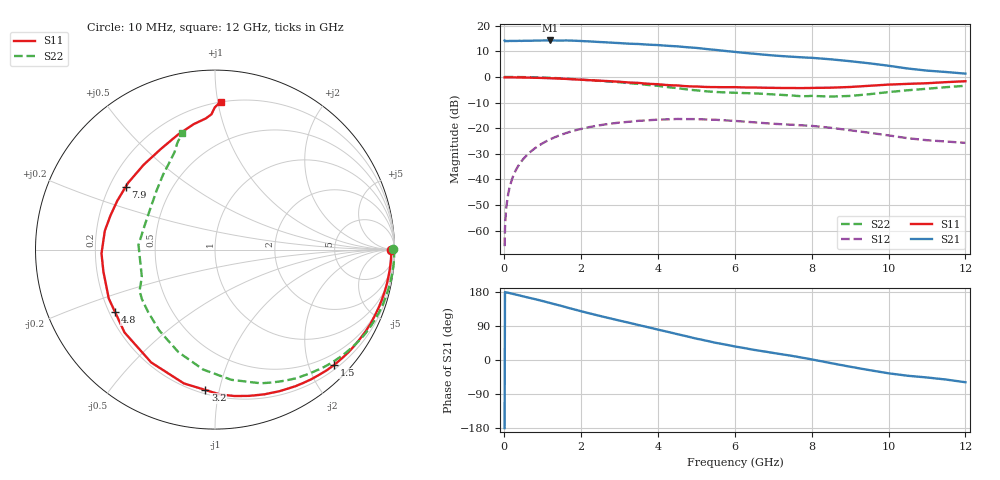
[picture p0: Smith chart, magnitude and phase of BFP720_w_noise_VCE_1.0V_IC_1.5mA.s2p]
! Infineon Technologies  Discrete & RF Semiconductors
! BFP720
! VCE =  1.0 V,  IC =  1.5 mA
! Common Emitter S-Parameters:  Aug 2012
# GHz  S  MA  R  50
!  f  S11  S21  S12  S22
! GHz  MAG  ANG  MAG  ANG  MAG  ANG  MAG  ANG
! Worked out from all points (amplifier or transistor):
!   105 points, 10 MHz to 12 GHz, reference 50 ohm
!   highest |S21| = 14.2 dB at 1.2 GHz (marker M1)
!   |S21| within 3 dB of that: start of sweep to 5.057 GHz
!   unconditionally stable (mu >= 1): 8.516 GHz to end of sweep
!   at 300 MHz: K = 0.01, MSG = 25.2 dB, |S12| = -36.4 dB
!   at 3.6 GHz: K = 0.27, MSG = 14.9 dB, |S12| = -17.0 dB
!   at 12 GHz: K = 1.07, MAG = 11.9 dB, |S12| = -25.7 dB
!   lowest NFmin = 0.43 dB at 450 MHz
!   S11 on the Smith chart (normalised r, x): 10 MHz: 97, +0; 1.5 GHz: 0.28, -2.45; 3.2 GHz: 0.22, -0.91; 4.8 GHz: 0.22, -0.27; 7.9 GHz: 0.27, +0.30; 12 GHz: 0.20, +1.02
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0.01  0.9796 -0.0  5.139 -179.7  0.0005 -150.7  0.9942 0.2
0.03  0.9819 -0.8  4.99 179.0  0.0016 89.1  0.9992 -0.7
0.06  0.9818 -1.6  5.021 178.3  0.0031 88.7  0.9987 -1.4
0.14  0.9815 -3.8  5.038 176.5  0.007 87.4  0.9988 -3.2
0.25  0.9797 -6.9  5.048 173.8  0.0126 85.2  0.998 -5.7
0.6  0.9708 -16.7  5.077 165.3  0.0304 78.0  0.9892 -13.9
1.2  0.9434 -34.6  5.15 150.3  0.0609 64.6  0.9613 -28.5
1.5  0.9242 -44.0  5.124 142.4  0.0755 57.5  0.9367 -35.9
1.7  0.907 -50.4  5.129 136.7  0.0845 52.7  0.9176 -40.9
2.1  0.874 -62.5  4.977 126.1  0.1007 43.2  0.877 -50.5
2.6  0.837 -76.8  4.755 113.6  0.1178 32.1  0.8273 -62.0
3.2  0.7841 -93.9  4.478 99.4  0.1326 19.4  0.7613 -75.6
3.5  0.7654 -103.1  4.392 92.1  0.1395 13.3  0.7313 -82.8
4.1  0.7091 -122.9  4.13 77.9  0.1478 1.2  0.6555 -98.2
4.8  0.6567 -148.0  3.776 61.3  0.1505 -12.6  0.5663 -118.3
5.5  0.6338 -168.9  3.371 45.4  0.1462 -25.5  0.5096 -137.0
6.1  0.6287 179.7  3.026 34.0  0.1371 -34.7  0.4888 -147.0
7.9  0.6084 144.8  2.38 3.5  0.1122 -54.8  0.4227 -178.7
8.5  0.6176 130.0  2.207 -8.2  0.1019 -62.4  0.4144 162.3
9.5  0.6723 108.0  1.845 -26.7  0.0816 -69.9  0.4608 135.2
10.5  0.7326 94.0  1.461 -41.6  0.0638 -72.0  0.5501 117.3
12  0.8247 87.8  1.16 -58.7  0.0518 -66.9  0.6723 105.8
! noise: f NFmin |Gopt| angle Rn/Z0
0.45  0.43  0.72  5  0.33
1.8  0.58  0.67  30  0.28
2.4  0.68  0.58  79  0.2
5.5  0.99  0.47  92  0.09
10  1.51  0.5  -113  0.24
